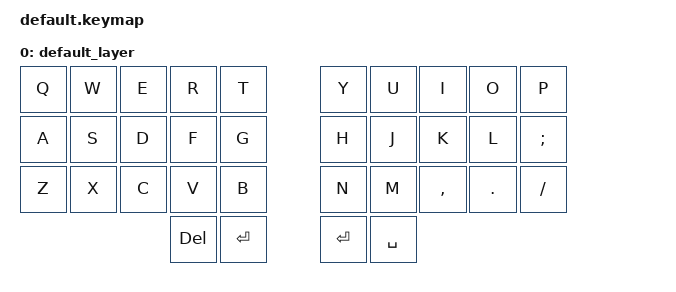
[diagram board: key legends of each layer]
#include <behaviors.dtsi>
#include <dt-bindings/zmk/keys.h>


/ {
	keymap0: keymap {
		compatible = "zmk,keymap";

		default_layer {
		bindings = <
				&kp Q &kp W &kp E &kp R &kp T 		&kp Y &kp U  &kp I    &kp O   &kp P 
				&kp A &kp S &kp D &kp F &kp G 		&kp H &kp J  &kp K    &kp L   &kp SCLN 
				&kp Z &kp X &kp C &kp V &kp B		&kp N &kp M  &kp CMMA &kp DOT &kp FSLH
					    &kp DEL &kp RET 		&kp RET &kp SPC 
					    
					    >;
		};
	};
};
